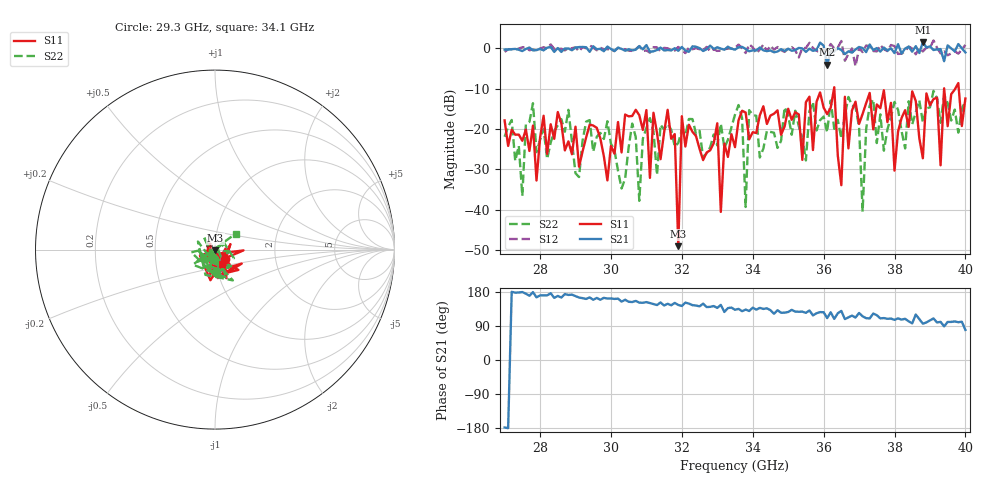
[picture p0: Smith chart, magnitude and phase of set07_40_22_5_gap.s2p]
! Quiescent point : V1=-1.66492E-02 I1=+1.32593E-03 V2=-2.24803E-02 I2=-1.30078E-03
! Pulsed point : V1=-1.67693E-02 I1=+1.31051E-03 V2=-2.22021E-02 I2=-1.30809E-03
! Period : +2.00000E-04
! Input Supply timing : delay=+1.60000E-06 width=+2.20000E-06
! Output Supply timing : delay=+1.70000E-06 width=+2.00000E-06
! VNA timing : delay=+2.40000E-06 width=+1.10000E-06
# Hz S RI R 50
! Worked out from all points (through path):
!   131 points, 27 GHz to 40 GHz, reference 50 ohm
!   highest |S21| = 1.53 dB at 38.8 GHz (marker M1); lowest = -4.1 dB at 36.1 GHz (marker M2)
!   group delay of S21, straight-line fit = 17.8 ps
!   lowest |S11| = -49.1 dB at 31.9 GHz (marker M3), VSWR 1.01, Z = 50.2 - j0.307 ohm
!   |S11| at or under -10 dB: start of sweep to 36.29 GHz; 36.3 GHz to 39.4 GHz (3.097 GHz wide, 8.18 % of centre); 39.4 GHz to 39.71 GHz (312.7 MHz wide, 0.791 % of centre)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
!   |S22| runs from -40.5 to -10.5 dB; largest |S21 - S12| = 0.43
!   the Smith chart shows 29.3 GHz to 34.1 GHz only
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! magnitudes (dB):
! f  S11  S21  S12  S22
! 27 GHz  -17.9  -0.3  -0.9  -21.9
! 29.2 GHz  -25.6  0.3  0.3  -22.9
! 30.6 GHz  -16.8  -0.5  -0.6  -18.7
! 30.8 GHz  -16.6  0.5  0.6  -37.8
! 31.4 GHz  -27.5  0.2  -0.8  -19.0
! 31.8 GHz  -21.3  0.0  -0.6  -24.4
! 31.9 GHz  -49.1  -0.6  0.3  -23.5
! 32 GHz  -16.8  0.3  -0.3  -20.2
! 33 GHz  -18.6  0.3  -0.6  -24.1
! 33.1 GHz  -40.6  -0.1  -0.5  -18.7
! 33.5 GHz  -24.5  -0.3  0.1  -16.4
! 33.8 GHz  -15.9  -0.1  -1.2  -39.4
! 33.9 GHz  -22.6  -0.7  1.0  -15.3
! 35.7 GHz  -25.2  -0.6  0.1  -13.3
! 36.1 GHz  -16.3  -4.1  -0.7  -20.8
! 36.5 GHz  -34.0  -0.4  1.8  -22.4
! 36.9 GHz  -13.2  -0.3  -4.4  -14.5
! 37.1 GHz  -16.3  0.1  -0.9  -40.5
! 37.3 GHz  -11.1  1.0  0.5  -14.2
! 37.9 GHz  -13.5  0.0  0.8  -17.1
! 38.8 GHz  -27.3  1.5  -0.8  -18.4
! 40 GHz  -12.5  -1.0  0.9  -13.1
